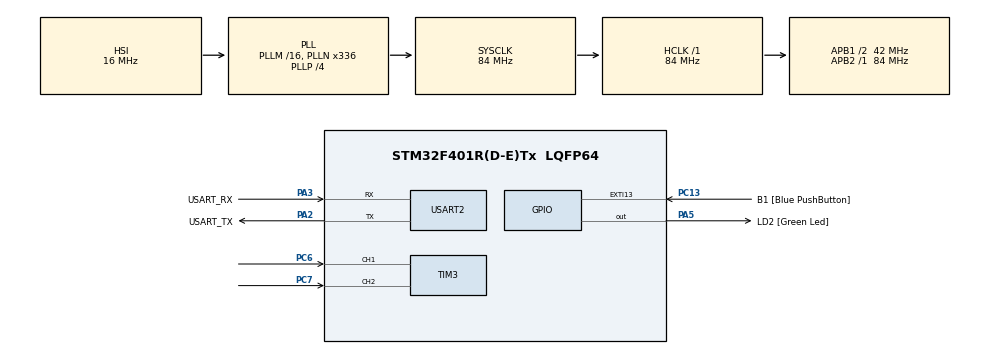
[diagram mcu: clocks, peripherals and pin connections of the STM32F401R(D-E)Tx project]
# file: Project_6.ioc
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Mcu.Family=STM32F4
Mcu.Name=STM32F401R(D-E)Tx
Mcu.Package=LQFP64
NVIC.PriorityGroup=NVIC_PRIORITYGROUP_0
NVIC.TIM1_UP_TIM10_IRQn=true\:0\:0\:false\:false\:true\:true\:true
PA13.GPIO_Label=TMS
PA13.Mode=Serial_Wire
PA13.Signal=SYS_JTMS-SWDIO
PA14.GPIO_Label=TCK
PA14.Mode=Serial_Wire
PA14.Signal=SYS_JTCK-SWCLK
PA2.GPIO_Label=USART_TX
PA2.GPIO_Mode=GPIO_MODE_AF_PP
PA2.GPIO_PuPd=GPIO_NOPULL
PA2.GPIO_Speed=GPIO_SPEED_FREQ_LOW
PA2.Mode=Asynchronous
PA2.Signal=USART2_TX
PA3.GPIO_Label=USART_RX
PA3.GPIO_Mode=GPIO_MODE_AF_PP
PA3.GPIO_PuPd=GPIO_NOPULL
PA3.GPIO_Speed=GPIO_SPEED_FREQ_LOW
PA3.Mode=Asynchronous
PA3.Signal=USART2_RX
PA5.GPIO_Label=LD2 [Green Led]
PA5.GPIO_Mode=GPIO_MODE_OUTPUT_PP
PA5.GPIO_PuPd=GPIO_NOPULL
PA5.GPIO_Speed=GPIO_SPEED_FREQ_LOW
PA5.Signal=GPIO_Output
PB3.GPIO_Label=SWO
PB3.Signal=SYS_JTDO-SWO
PC13-ANTI_TAMP.GPIO_Label=B1 [Blue PushButton]
PC13-ANTI_TAMP.GPIO_ModeDefaultEXTI=GPIO_MODE_IT_FALLING
PC13-ANTI_TAMP.GPIO_PuPd=GPIO_NOPULL
PC13-ANTI_TAMP.Signal=GPXTI13
PC14-OSC32_IN.Mode=LSE-External-Oscillator
PC14-OSC32_IN.Signal=RCC_OSC32_IN
PC15-OSC32_OUT.Mode=LSE-External-Oscillator
PC15-OSC32_OUT.Signal=RCC_OSC32_OUT
PC6.Signal=S_TIM3_CH1
PC7.Signal=S_TIM3_CH2
PH0\ -\ OSC_IN.Mode=HSE-External-Clock-Source
PH0\ -\ OSC_IN.Signal=RCC_OSC_IN
PH1\ -\ OSC_OUT.Mode=HSE-External-Clock-Source
PH1\ -\ OSC_OUT.Signal=RCC_OSC_OUT
ProjectManager.HeapSize=0x200
ProjectManager.StackSize=0x400
ProjectManager.TargetToolchain=STM32CubeIDE
RCC.48MHZClocksFreq_Value=48000000
RCC.AHBFreq_Value=84000000
RCC.APB1CLKDivider=RCC_HCLK_DIV2
RCC.APB1Freq_Value=42000000
RCC.APB1TimFreq_Value=84000000
RCC.APB2Freq_Value=84000000
RCC.APB2TimFreq_Value=84000000
RCC.CortexFreq_Value=84000000
RCC.HCLKFreq_Value=84000000
RCC.HSE_VALUE=8000000
RCC.HSI_VALUE=16000000
RCC.PLLN=336
RCC.PLLP=RCC_PLLP_DIV4
RCC.PLLQ=7
RCC.SYSCLKFreq_VALUE=84000000
RCC.SYSCLKSource=RCC_SYSCLKSOURCE_PLLCLK
RCC.VCOOutputFreq_Value=336000000
SH.S_TIM3_CH1.0=TIM3_CH1,Encoder_Interface
SH.S_TIM3_CH2.0=TIM3_CH2,Encoder_Interface
TIM1.Period=2000-1
TIM1.Prescaler=42000-1
TIM3.IC1Filter=15
TIM3.IC1Polarity=TIM_ICPOLARITY_FALLING
TIM3.IC2Filter=15
TIM3.IC2Polarity=TIM_ICPOLARITY_RISING
USART2.VirtualMode=VM_ASYNC
VP_TIM1_VS_ClockSourceINT.Mode=Internal
board=NUCLEO-F401RE

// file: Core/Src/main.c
/* USER CODE BEGIN Header */
/**
  ******************************************************************************
  * @file           : main.c
  * @brief          : Main program body
  ******************************************************************************
  * @attention
  *
  * <h2><center>&copy; Copyright (c) 2021 STMicroelectronics.
  * All rights reserved.</center></h2>
  *
  * This software component is licensed by ST under BSD 3-Clause license,
  * the "License"; You may not use this file except in compliance with the
  * License. You may obtain a copy of the License at:
  *                        opensource.org/licenses/BSD-3-Clause
  *
  ******************************************************************************
  */
/* USER CODE END Header */
#include "main.h"

TIM_HandleTypeDef htim1;
TIM_HandleTypeDef htim3;

UART_HandleTypeDef huart2;

/* USER CODE BEGIN PV */
unsigned counts = 0;
unsigned old_counts = 0;

int delta = 0;
/* USER CODE END PV */

void SystemClock_Config(void);
static void MX_GPIO_Init(void);
static void MX_USART2_UART_Init(void);
static void MX_TIM3_Init(void);
static void MX_TIM1_Init(void);

int main(void)
{

  /* MCU Configuration--------------------------------------------------------*/

  /* Reset of all peripherals, Initializes the Flash interface and the Systick. */
  HAL_Init();

  /* Configure the system clock */
  SystemClock_Config();

  /* Initialize all configured peripherals */
  MX_GPIO_Init();
  MX_USART2_UART_Init();
  MX_TIM3_Init();
  MX_TIM1_Init();
  /* USER CODE BEGIN 2 */
  HAL_TIM_Encoder_Start(&htim3, TIM_CHANNEL_ALL);
  HAL_TIM_Base_Start_IT(&htim1);

  /* USER CODE END 2 */

  /* Infinite loop */
  while (1)
  {

  }
}

void SystemClock_Config(void)
{
  RCC_OscInitTypeDef RCC_OscInitStruct = {0};
  RCC_ClkInitTypeDef RCC_ClkInitStruct = {0};

  /** Configure the main internal regulator output voltage
  */
  __HAL_RCC_PWR_CLK_ENABLE();
  __HAL_PWR_VOLTAGESCALING_CONFIG(PWR_REGULATOR_VOLTAGE_SCALE2);
  /** Initializes the RCC Oscillators according to the specified parameters
  * in the RCC_OscInitTypeDef structure.
  */
  RCC_OscInitStruct.OscillatorType = RCC_OSCILLATORTYPE_HSI;
  RCC_OscInitStruct.HSIState = RCC_HSI_ON;
  RCC_OscInitStruct.HSICalibrationValue = RCC_HSICALIBRATION_DEFAULT;
  RCC_OscInitStruct.PLL.PLLState = RCC_PLL_ON;
  RCC_OscInitStruct.PLL.PLLSource = RCC_PLLSOURCE_HSI;
  RCC_OscInitStruct.PLL.PLLM = 16;
  RCC_OscInitStruct.PLL.PLLN = 336;
  RCC_OscInitStruct.PLL.PLLP = RCC_PLLP_DIV4;
  RCC_OscInitStruct.PLL.PLLQ = 7;
  if (HAL_RCC_OscConfig(&RCC_OscInitStruct) != HAL_OK)
  {
    Error_Handler();
  }
  /** Initializes the CPU, AHB and APB buses clocks
  */
  RCC_ClkInitStruct.ClockType = RCC_CLOCKTYPE_HCLK|RCC_CLOCKTYPE_SYSCLK
                              |RCC_CLOCKTYPE_PCLK1|RCC_CLOCKTYPE_PCLK2;
  RCC_ClkInitStruct.SYSCLKSource = RCC_SYSCLKSOURCE_PLLCLK;
  RCC_ClkInitStruct.AHBCLKDivider = RCC_SYSCLK_DIV1;
  RCC_ClkInitStruct.APB1CLKDivider = RCC_HCLK_DIV2;
  RCC_ClkInitStruct.APB2CLKDivider = RCC_HCLK_DIV1;

  if (HAL_RCC_ClockConfig(&RCC_ClkInitStruct, FLASH_LATENCY_2) != HAL_OK)
  {
    Error_Handler();
  }
}

static void MX_TIM1_Init(void)
{

  TIM_ClockConfigTypeDef sClockSourceConfig = {0};
  TIM_MasterConfigTypeDef sMasterConfig = {0};

  htim1.Instance = TIM1;
  htim1.Init.Prescaler = 42000-1;
  htim1.Init.CounterMode = TIM_COUNTERMODE_UP;
  htim1.Init.Period = 2000-1;
  htim1.Init.ClockDivision = TIM_CLOCKDIVISION_DIV1;
  htim1.Init.RepetitionCounter = 0;
  htim1.Init.AutoReloadPreload = TIM_AUTORELOAD_PRELOAD_DISABLE;
  if (HAL_TIM_Base_Init(&htim1) != HAL_OK)
  {
    Error_Handler();
  }
  sClockSourceConfig.ClockSource = TIM_CLOCKSOURCE_INTERNAL;
  if (HAL_TIM_ConfigClockSource(&htim1, &sClockSourceConfig) != HAL_OK)
  {
    Error_Handler();
  }
  sMasterConfig.MasterOutputTrigger = TIM_TRGO_RESET;
  sMasterConfig.MasterSlaveMode = TIM_MASTERSLAVEMODE_DISABLE;
  if (HAL_TIMEx_MasterConfigSynchronization(&htim1, &sMasterConfig) != HAL_OK)
  {
    Error_Handler();
  }

}

static void MX_TIM3_Init(void)
{

  TIM_Encoder_InitTypeDef sConfig = {0};
  TIM_MasterConfigTypeDef sMasterConfig = {0};

  htim3.Instance = TIM3;
  htim3.Init.Prescaler = 0;
  htim3.Init.CounterMode = TIM_COUNTERMODE_UP;
  htim3.Init.Period = 65535;
  htim3.Init.ClockDivision = TIM_CLOCKDIVISION_DIV1;
  htim3.Init.AutoReloadPreload = TIM_AUTORELOAD_PRELOAD_DISABLE;
  sConfig.EncoderMode = TIM_ENCODERMODE_TI1;
  sConfig.IC1Polarity = TIM_ICPOLARITY_FALLING;
  sConfig.IC1Selection = TIM_ICSELECTION_DIRECTTI;
  sConfig.IC1Prescaler = TIM_ICPSC_DIV1;
  sConfig.IC1Filter = 15;
  sConfig.IC2Polarity = TIM_ICPOLARITY_RISING;
  sConfig.IC2Selection = TIM_ICSELECTION_DIRECTTI;
  sConfig.IC2Prescaler = TIM_ICPSC_DIV1;
  sConfig.IC2Filter = 15;
  if (HAL_TIM_Encoder_Init(&htim3, &sConfig) != HAL_OK)
  {
    Error_Handler();
  }
  sMasterConfig.MasterOutputTrigger = TIM_TRGO_RESET;
  sMasterConfig.MasterSlaveMode = TIM_MASTERSLAVEMODE_DISABLE;
  if (HAL_TIMEx_MasterConfigSynchronization(&htim3, &sMasterConfig) != HAL_OK)
  {
    Error_Handler();
  }

}

static void MX_USART2_UART_Init(void)
{

  huart2.Instance = USART2;
  huart2.Init.BaudRate = 115200;
  huart2.Init.WordLength = UART_WORDLENGTH_8B;
  huart2.Init.StopBits = UART_STOPBITS_1;
  huart2.Init.Parity = UART_PARITY_NONE;
  huart2.Init.Mode = UART_MODE_TX_RX;
  huart2.Init.HwFlowCtl = UART_HWCONTROL_NONE;
  huart2.Init.OverSampling = UART_OVERSAMPLING_16;
  if (HAL_UART_Init(&huart2) != HAL_OK)
  {
    Error_Handler();
  }

}

static void MX_GPIO_Init(void)
{
  GPIO_InitTypeDef GPIO_InitStruct = {0};

  /* GPIO Ports Clock Enable */
  __HAL_RCC_GPIOC_CLK_ENABLE();
  __HAL_RCC_GPIOH_CLK_ENABLE();
  __HAL_RCC_GPIOA_CLK_ENABLE();
  __HAL_RCC_GPIOB_CLK_ENABLE();

  /*Configure GPIO pin Output Level */
  HAL_GPIO_WritePin(LD2_GPIO_Port, LD2_Pin, GPIO_PIN_RESET);

  /*Configure GPIO pin : B1_Pin */
  GPIO_InitStruct.Pin = B1_Pin;
  GPIO_InitStruct.Mode = GPIO_MODE_IT_FALLING;
  GPIO_InitStruct.Pull = GPIO_NOPULL;
  HAL_GPIO_Init(B1_GPIO_Port, &GPIO_InitStruct);

  /*Configure GPIO pin : LD2_Pin */
  GPIO_InitStruct.Pin = LD2_Pin;
  GPIO_InitStruct.Mode = GPIO_MODE_OUTPUT_PP;
  GPIO_InitStruct.Pull = GPIO_NOPULL;
  GPIO_InitStruct.Speed = GPIO_SPEED_FREQ_LOW;
  HAL_GPIO_Init(LD2_GPIO_Port, &GPIO_InitStruct);

}

/* USER CODE BEGIN 4 */
void HAL_TIM_PeriodElapsedCallback(TIM_HandleTypeDef *htim){

	old_counts = counts;
	counts = __HAL_TIM_GET_COUNTER(&htim3);
	delta = counts - old_counts;

	if (delta > 32768){
	  // counts much larger than old_counts -> underflow happened
	  // we subtract the FSR of the counter
	  delta = delta - 65536;
	} else if (delta < -32768){
	  // counts much smaller than old_counts -> underflow happened
	  // we add the FSR of the counter
	  delta = delta + 65536;
	}

	float freq = delta/24.0;
	char str[50];
	snprintf(str, sizeof(str), "Rotation Speed: %+.2frps\r\n", freq);
	HAL_UART_Transmit(&huart2, str, strlen(str), 10);
}
/* USER CODE END 4 */

void Error_Handler(void)
{
}

/************************ (C) COPYRIGHT STMicroelectronics *****END OF FILE****/
